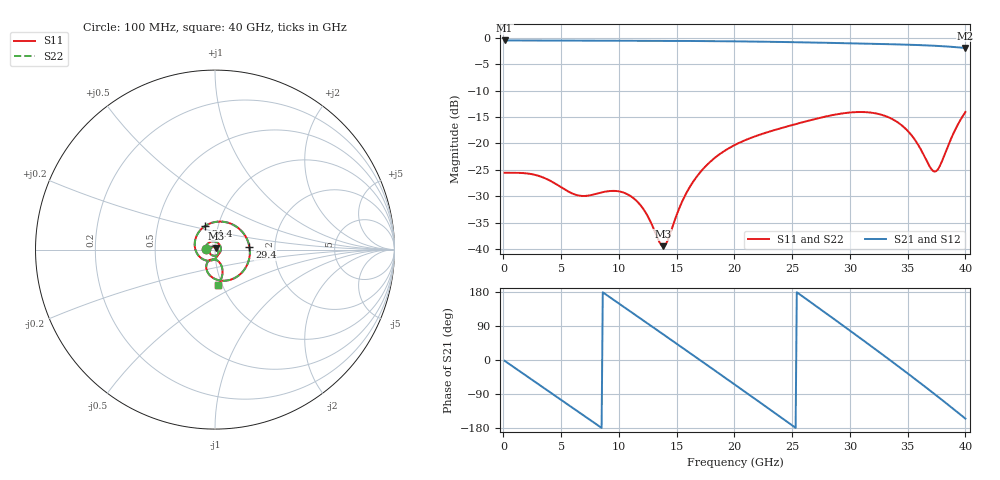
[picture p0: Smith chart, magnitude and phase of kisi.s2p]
! C_s8_ap1000: L1→L8, antipad Ø1 on every plane
! stackup: 8-layer 1.6 mm FR-4 (generic)
! ports: 1, 2
! kisi-fdtd, conformal, dfine 0.035 mm, 637065 cells
# Hz S RI R 50
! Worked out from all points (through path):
!   400 points, 100 MHz to 40 GHz, reference 50 ohm
!   highest |S21| = -0.55 dB at 100 MHz (marker M1); lowest = -2.0 dB at 40 GHz (marker M2)
!   group delay of S21, straight-line fit = 60.3 ps
!   lowest |S11| = -39.4 dB at 13.8 GHz (marker M3), VSWR 1.02, Z = 50.6 + j0.904 ohm
!   |S11| at or under -10 dB: start of sweep to end of sweep
!   |S22| runs from -39.4 to -14.1 dB; largest |S21 - S12| = 4.1e-07
!   S11 on the Smith chart (normalised r, x): 100 MHz: 0.90, +0.00; 24.4 GHz: 0.87, +0.24; 29.4 GHz: 1.47, +0.05; 40 GHz: 0.95, -0.39
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1e8  -0.0528 0.00163  0.9379 -0.0345  0.9379 -0.0345  -0.0528 0.00163
1.7e9  -0.0445 0.0278  0.7604 -0.5494  0.7604 -0.5494  -0.0445 0.0278
3.6e9  -0.0091 0.046  0.2284 -0.9088  0.2284 -0.9088  -0.0091 0.046
5.1e9  0.0236 0.0298  -0.2815 -0.8929  -0.2815 -0.8929  0.0236 0.0298
6.8e9  0.0299 -0.0112  -0.7503 -0.5584  -0.7503 -0.5584  0.0299 -0.0112
9.7e9  -0.0228 -0.0274  -0.8492 0.3886  -0.8492 0.3886  -0.0228 -0.0274
1.17e10  -0.027 0.00495  -0.3653 0.8581  -0.3653 0.8581  -0.027 0.00495
1.34e10  -0.000567 0.0124  0.21 0.9072  0.21 0.9072  -0.000567 0.0124
1.38e10  0.00593 0.00893  0.3418 0.8658  0.3418 0.8658  0.00593 0.00893
1.55e10  0.0179 -0.0224  0.7856 0.4956  0.7856 0.4956  0.0179 -0.0224
1.7e10  -0.00241 -0.0528  0.9267 0.00326  0.9267 0.00326  -0.00241 -0.0528
2.01e10  -0.0916 -0.0337  0.3696 -0.843  0.3696 -0.843  -0.0916 -0.0337
2.21e10  -0.1123 0.0424  -0.3053 -0.8625  -0.3053 -0.8625  -0.1123 0.0424
2.44e10  -0.0531 0.1329  -0.8489 -0.3193  -0.8489 -0.3193  -0.0531 0.1329
2.67e10  0.0764 0.1486  -0.7804 0.4433  -0.7804 0.4433  0.0764 0.1486
2.94e10  0.192 0.0147  -0.0148 0.8852  -0.0148 0.8852  0.192 0.0147
3.12e10  0.1637 -0.1112  0.5527 0.6805  0.5527 0.6805  0.1637 -0.1112
3.34e10  0.0317 -0.1726  0.8653 0.0202  0.8653 0.0202  0.0317 -0.1726
3.5e10  -0.0419 -0.1248  0.6984 -0.4949  0.6984 -0.4949  -0.0419 -0.1248
3.69e10  -0.0234 -0.0561  0.15 -0.8274  0.15 -0.8274  -0.0234 -0.0561
3.84e10  0.0328 -0.083  -0.3554 -0.7428  -0.3554 -0.7428  0.0328 -0.083
4e10  0.0161 -0.1977  -0.7196 -0.3405  -0.7196 -0.3405  0.0161 -0.1977
